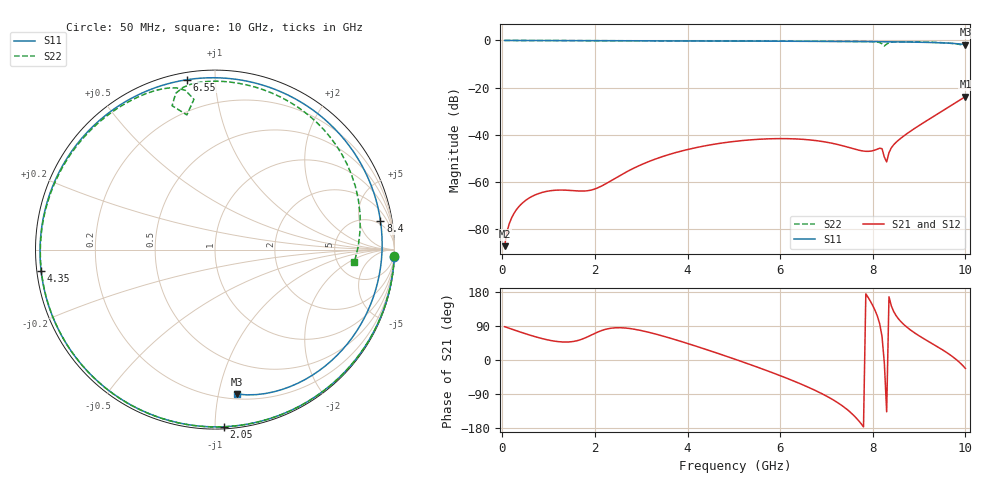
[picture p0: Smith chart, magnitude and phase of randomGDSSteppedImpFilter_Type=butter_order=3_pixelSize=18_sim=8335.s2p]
! freq	dB(S11)	phase(S11)	dB(S12)	phase(S12)
!  dB(S21)	phase(S21)	dB(S22)	phase(S22)
!S-par simulation data
#  GHz  S  DB  R 50
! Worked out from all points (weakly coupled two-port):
!   200 points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, 50 MHz to 10 GHz, reference 50 ohm
!   highest |S21| = -23.90 dB at 10 GHz (marker M1); lowest = -87.2 dB at 50 MHz (marker M2)
!   lowest |S11| = -1.8 dB at 10 GHz (marker M3), VSWR 9.78, Z = 11.9 - j56.9 ohm
!   |S11| at or under -10 dB: nowhere
!   |S22| runs from -2.3 to 0.0 dB; largest |S21 - S12| = 0
!   S11 on the Smith chart (normalised r, x): 50 MHz: 0, -51; 2.05 GHz: 0.01, -1.05; 4.35 GHz: 0.01, -0.06; 6.55 GHz: 0.04, +0.85; 8.4 GHz: 4, +10; 10 GHz: 0.24, -1.14
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0.05  -0.00 -2.2  -87.23 87.9  -87.23 87.9  -0.00 -2.1
0.35  -0.02 -15.6  -70.64 75.4  -70.64 75.4  -0.02 -14.4
0.65  -0.04 -28.7  -66.04 63.6  -66.04 63.6  -0.03 -26.6
1.75  -0.09 -75.2  -63.86 56.3  -63.86 56.3  -0.08 -68.8
2.05  -0.10 -87.2  -62.59 73.1  -62.59 73.1  -0.09 -79.5
2.7  -0.13 -112.3  -55.54 83.8  -55.54 83.8  -0.12 -101.1
3.4  -0.16 -138.3  -49.63 65.5  -49.63 65.5  -0.14 -122.5
4.35  -0.21 -173.0  -44.78 29.9  -44.78 29.9  -0.18 -149.2
5.05  -0.25 160.8  -42.72 1.0  -42.72 1.0  -0.21 -167.8
5.75  -0.30 133.3  -41.71 -29.7  -41.71 -29.7  -0.25 173.9
6.55  -0.36 99.3  -42.01 -68.8  -42.01 -68.8  -0.30 152.7
6.7  -0.37 92.6  -42.29 -77.0  -42.29 -77.0  -0.31 148.6
7.4  -0.44 59.8  -44.92 -126.1  -44.92 -126.1  -0.37 128.5
8  -0.51 30.2  -46.75 143.5  -46.75 143.5  -0.52 108.1
8.2  -0.54 20.0  -45.90 61.8  -45.90 61.8  -1.46 98.0
8.3  -0.56 14.9  -51.51 -136.6  -51.51 -136.6  -1.55 106.6
8.35  -0.57 12.3  -47.56 166.8  -47.56 166.8  -0.93 104.1
8.4  -0.58 9.8  -45.55 142.9  -45.55 142.9  -0.71 101.1
8.9  -0.71 -16.4  -37.34 71.8  -37.34 71.8  -0.60 77.9
9.35  -0.92 -40.8  -31.77 38.4  -31.77 38.4  -0.81 54.3
9.7  -1.20 -61.3  -27.48 10.9  -27.48 10.9  -1.24 28.7
10  -1.78 -81.3  -23.90 -22.3  -23.90 -22.3  -2.16 -5.2
